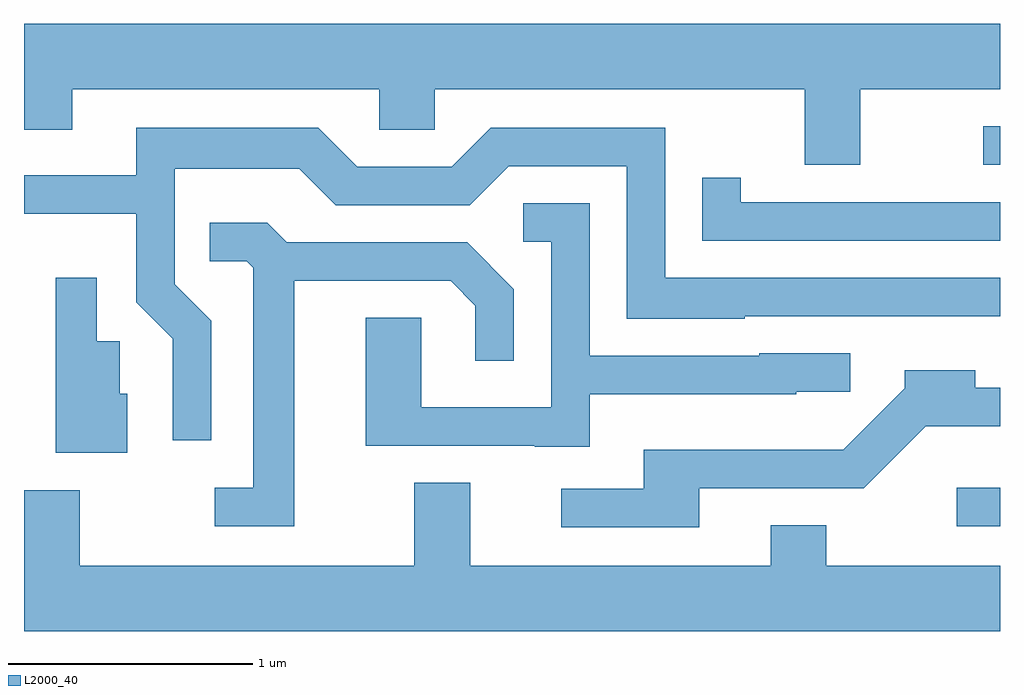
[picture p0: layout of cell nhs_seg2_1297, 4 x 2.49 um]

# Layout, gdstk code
import gdstk
lib = gdstk.Library(unit=1e-6, precision=1e-09)
def R(c, l, rs):  # rectangles x0, y0, x1, y1
    for r in rs: c.add(gdstk.rectangle(r[:2], r[2:], *l))
def P(c, l, *ps):  # polygons
    for p in ps: c.add(gdstk.Polygon(p, *l))
L2000_40 = (2000, 40)

nhs_seg2_1297 = lib.new_cell('nhs_seg2_1297')
R(nhs_seg2_1297, L2000_40, [(227.433,988.806,227.611,988.964), (227.543,990.286,227.611,990.444)])
P(nhs_seg2_1297, L2000_40, [(227.039,990.596),(227.611,990.596),(227.611,990.864),(223.611,990.864),(223.611,990.431),(223.809,990.431),(223.809,990.596),(225.066,990.596),(225.066,990.431),(225.294,990.431),(225.294,990.596),(226.811,990.596),(226.811,990.286),(227.039,990.286)],
  [(224.379,989.647),(224.229,989.797),(224.229,990.271),(224.739,990.271),(224.889,990.121),(225.437,990.121),(225.597,990.281),(226.081,990.281),(226.081,989.656),(226.565,989.656),(226.565,989.666),(227.611,989.666),(227.611,989.824),(226.239,989.824),(226.239,990.439),(225.524,990.439),(225.364,990.279),(224.977,990.279),(224.817,990.439),(224.071,990.439),(224.071,990.244),(223.611,990.244),(223.611,990.086),(224.071,990.086),(224.071,989.724),(224.221,989.574),(224.221,989.158),(224.379,989.158)],
  [(227.611,990.134),(226.549,990.134),(226.549,990.233),(226.391,990.233),(226.391,989.976),(227.611,989.976)],
  [(225.929,989.346),(226.775,989.346),(226.775,989.356),(226.998,989.356),(226.998,989.514),(226.625,989.514),(226.625,989.504),(225.929,989.504),(225.929,990.129),(225.658,990.129),(225.658,989.971),(225.771,989.971),(225.771,989.294),(225.239,989.294),(225.239,989.659),(225.011,989.659),(225.011,989.136),(225.705,989.136),(225.705,989.131),(225.929,989.131)],
  [(224.719,989.811),(225.359,989.811),(225.461,989.709),(225.461,989.483),(225.619,989.483),(225.619,989.777),(225.427,989.969),(224.687,989.969),(224.607,990.049),(224.373,990.049),(224.373,989.891),(224.524,989.891),(224.551,989.864),(224.551,988.964),(224.393,988.964),(224.393,988.806),(224.719,988.806)],
  [(224.034,989.349),(224.004,989.349),(224.004,989.564),(223.909,989.564),(223.909,989.823),(223.741,989.823),(223.741,989.106),(224.034,989.106)],
  [(226.379,988.961),(227.052,988.961),(227.307,989.216),(227.611,989.216),(227.611,989.374),(227.509,989.374),(227.509,989.444),(227.221,989.444),(227.221,989.372),(226.969,989.119),(226.151,989.119),(226.151,988.959),(225.813,988.959),(225.813,988.801),(226.379,988.801)],
  [(227.611,988.644),(226.899,988.644),(226.899,988.809),(226.671,988.809),(226.671,988.644),(225.439,988.644),(225.439,988.984),(225.211,988.984),(225.211,988.644),(223.839,988.644),(223.839,988.954),(223.611,988.954),(223.611,988.376),(227.611,988.376)])

lib.write_gds('nhs_seg2_1297.gds')
